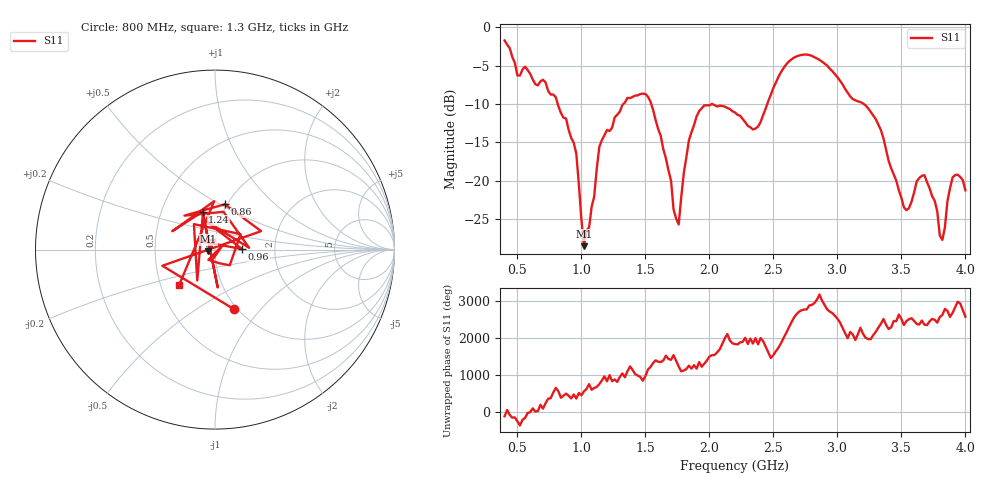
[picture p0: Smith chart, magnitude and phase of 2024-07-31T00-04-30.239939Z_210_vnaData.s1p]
!Created with skrf (http://scikit-rf.org).
# Hz S RI R 50.0
!freq ReS11 ImS11
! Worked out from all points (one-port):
!   181 points, 400 MHz to 4 GHz, reference 50 ohm
!   lowest |S11| = -28.5 dB at 1.02 GHz (marker M1), VSWR 1.08, Z = 46.5 - j0.876 ohm
!   |S11| at or under -10 dB: 815.5 MHz to 1.327 GHz (511.6 MHz wide, 47.8 % of centre); 1.546 GHz to 2.017 GHz (470.6 MHz wide, 26.4 % of centre); 3.207 GHz to end of sweep (the widest 3 of 4)
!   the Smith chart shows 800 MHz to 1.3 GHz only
!   S11 on the Smith chart (normalised r, x): 800 MHz: 0.97, -0.74; 860 MHz: 0.98, +0.53; 960 MHz: 1.35, +0.01; 1.24 GHz: 0.80, +0.36; 1.3 GHz: 0.62, -0.27
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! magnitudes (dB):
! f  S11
! 400 MHz  -1.7
! 500 MHz  -6.3
! 560 MHz  -5.1
! 800 MHz  -9.1
! 860 MHz  -11.8
! 960 MHz  -16.5
! 1.02 GHz  -28.5
! 1.1 GHz  -22.1
! 1.14 GHz  -15.6
! 1.24 GHz  -13.1
! 1.3 GHz  -11.0
! 1.52 GHz  -9.0
! 1.62 GHz  -14.2
! 1.76 GHz  -25.7
! 1.84 GHz  -14.7
! 1.92 GHz  -10.9
! 2.2 GHz  -11.1
! 2.38 GHz  -12.9
! 2.66 GHz  -3.9
! 2.86 GHz  -4.2
! 3.1 GHz  -9.0
! 3.3 GHz  -12.0
! 3.52 GHz  -23.5
! 3.56 GHz  -23.6
! 3.68 GHz  -19.3
! 3.82 GHz  -27.7
! 3.9 GHz  -19.6
! 4 GHz  -21.2
